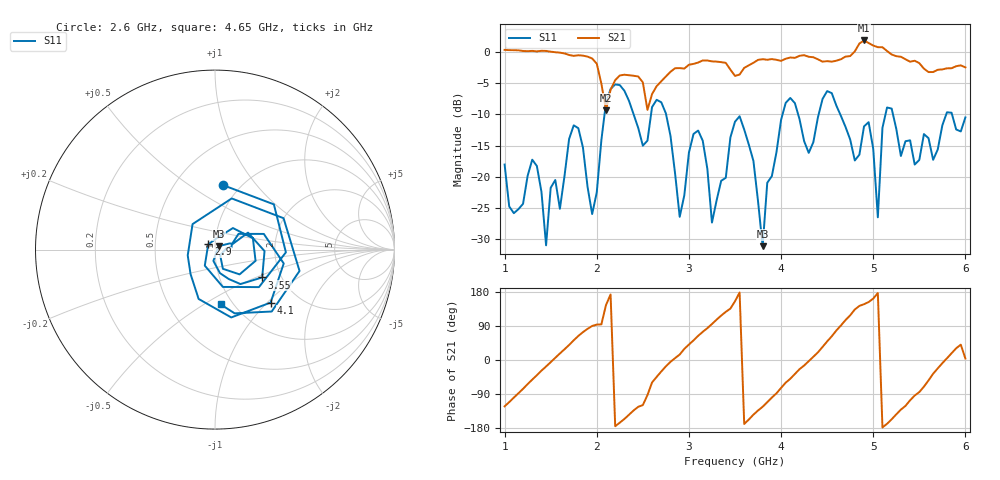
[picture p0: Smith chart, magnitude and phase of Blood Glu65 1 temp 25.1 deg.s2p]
! NanoVNA-App
! Date: 2024-03-20 21:18:40
! Start: 1GHz Stop: 6GHz Points: 101
! S-Parameter data: F S11 S21 S12 S22
# Hz S RI R 50
!	Frequency	S11_Real	S11_Imag	S21_Real	S21_Imag	S12_Real	S12_Imag	S22_Real	S22_Imag
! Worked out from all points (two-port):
!   101 points, 1 GHz to 6 GHz, reference 50 ohm
!   highest |S21| = 1.84 dB at 4.9 GHz (marker M1); lowest = -9.3 dB at 2.1 GHz (marker M2)
!   |S21| within 3 dB of the highest: start of sweep to 1.957 GHz; 4.651 GHz to 5.348 GHz (697.1 MHz wide, 13.9 % of centre)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
!   lowest |S11| = -31.1 dB at 3.8 GHz (marker M3), VSWR 1.06, Z = 52 + j2 ohm
!   |S11| at or under -10 dB: start of sweep to 2.084 GHz; 2.752 GHz to 4.016 GHz (1.264 GHz wide, 37.4 % of centre); 5.214 GHz to 5.792 GHz (577.9 MHz wide, 10.5 % of centre)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
!   S12 and S22 are empty: the file has one direction only
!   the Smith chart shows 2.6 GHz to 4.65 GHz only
!   S11 on the Smith chart (normalised r, x): 2.6 GHz: 0.84, +0.69; 2.9 GHz: 0.93, +0.05; 3.55 GHz: 1.60, -0.55; 4.1 GHz: 1.45, -1.05; 4.65 GHz: 0.88, -0.59
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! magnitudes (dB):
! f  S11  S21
! 1 GHz  -18.0  0.3
! 1.35 GHz  -18.3  0.1
! 1.45 GHz  -31.0  0.2
! 1.85 GHz  -15.3  -0.6
! 1.95 GHz  -26.0  -1.1
! 2.1 GHz  -8.1  -9.3
! 2.6 GHz  -8.8  -6.8
! 2.7 GHz  -8.1  -4.7
! 2.9 GHz  -26.4  -2.6
! 3.1 GHz  -12.6  -1.7
! 3.25 GHz  -27.3  -1.5
! 3.5 GHz  -11.2  -3.8
! 3.55 GHz  -10.3  -3.6
! 3.8 GHz  -31.1  -1.2
! 4.1 GHz  -7.4  -0.9
! 4.35 GHz  -14.5  -0.8
! 4.65 GHz  -10.3  -1.2
! 4.9 GHz  -11.9  1.8
! 5.05 GHz  -26.5  0.8
! 5.1 GHz  -12.2  0.8
! 5.2 GHz  -9.1  -0.4
! 6 GHz  -10.5  -2.5
